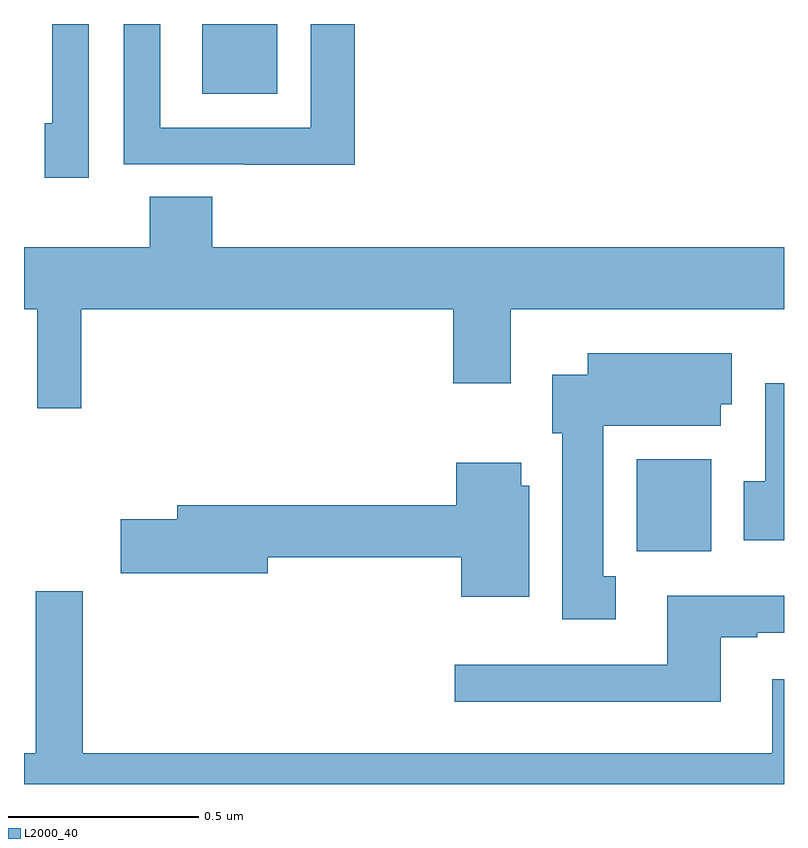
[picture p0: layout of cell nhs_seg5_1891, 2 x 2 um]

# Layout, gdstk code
import gdstk
lib = gdstk.Library(unit=1e-6, precision=1e-09)
def R(c, l, rs):  # rectangles x0, y0, x1, y1
    for r in rs: c.add(gdstk.rectangle(r[:2], r[2:], *l))
def P(c, l, *ps):  # polygons
    for p in ps: c.add(gdstk.Polygon(p, *l))
L2000_40 = (2000, 40)

nhs_seg5_1891 = lib.new_cell('nhs_seg5_1891')
R(nhs_seg5_1891, L2000_40, [(137.612,901.412,137.809,901.654), (136.469,902.615,136.666,902.799)])
P(nhs_seg5_1891, L2000_40, [(136.17,902.799),(136.074,902.799),(136.074,902.538),(136.055,902.538),(136.055,902.394),(136.17,902.394)],
  [(136.871,902.799),(136.755,902.799),(136.755,902.526),(136.359,902.526),(136.359,902.799),(136.263,902.799),(136.263,902.43),(136.579,902.43),(136.579,902.429),(136.871,902.429)],
  [(136.151,902.048),(137.129,902.048),(137.129,901.854),(137.281,901.854),(137.281,902.048),(138,902.048),(138,902.212),(136.496,902.212),(136.496,902.345),(136.331,902.345),(136.331,902.212),(136,902.212),(136,902.048),(136.035,902.048),(136.035,901.788),(136.151,901.788)],
  [(137.557,901.346),(137.524,901.346),(137.524,901.742),(137.833,901.742),(137.833,901.799),(137.863,901.799),(137.863,901.933),(137.483,901.933),(137.483,901.876),(137.39,901.876),(137.39,901.722),(137.417,901.722),(137.417,901.233),(137.557,901.233)],
  [(138,901.854),(137.951,901.854),(137.951,901.596),(137.894,901.596),(137.894,901.44),(138,901.44)],
  [(137.329,901.584),(137.308,901.584),(137.308,901.645),(137.138,901.645),(137.138,901.532),(136.403,901.532),(136.403,901.496),(136.254,901.496),(136.254,901.354),(136.642,901.354),(136.642,901.396),(137.15,901.396),(137.15,901.292),(137.329,901.292)],
  [(138,901.075),(137.969,901.075),(137.969,900.88),(136.154,900.88),(136.154,901.306),(136.031,901.306),(136.031,900.88),(136,900.88),(136,900.799),(138,900.799)],
  [(137.833,901.185),(137.929,901.185),(137.929,901.197),(138,901.197),(138,901.294),(137.693,901.294),(137.693,901.113),(137.133,901.113),(137.133,901.016),(137.833,901.016)])

lib.write_gds('nhs_seg5_1891.gds')
